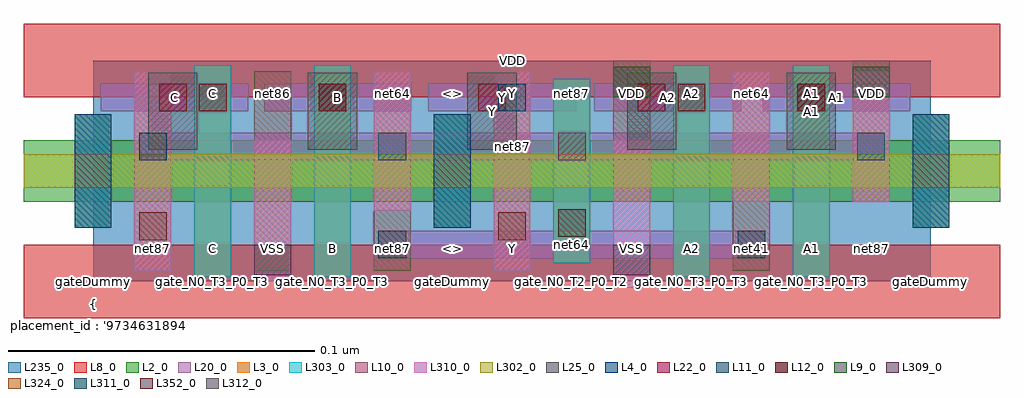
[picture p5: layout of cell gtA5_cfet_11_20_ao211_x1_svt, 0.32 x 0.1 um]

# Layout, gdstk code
import gdstk
lib = gdstk.Library(unit=1e-6, precision=2.5e-10)
def R(c, l, rs):  # rectangles x0, y0, x1, y1
    for r in rs: c.add(gdstk.rectangle(r[:2], r[2:], *l))
def A(c, l, x, y, w, h, nx, ny, dx, dy):  # array of equal rectangles
    R(c, l, [(x+i*dx, y+j*dy, x+i*dx+w, y+j*dy+h) for i in range(nx) for j in range(ny)])
L2_0 = (2, 0)
L3_0 = (3, 0)
L4_0 = (4, 0)
L8_0 = (8, 0)
L9_0 = (9, 0)
L10_0 = (10, 0)
L11_0 = (11, 0)
L12_0 = (12, 0)
L20_0 = (20, 0)
L22_0 = (22, 0)
L25_0 = (25, 0)
L235_0 = (235, 0)
L302_0 = (302, 0)
L303_0 = (303, 0)
L309_0 = (309, 0)
L310_0 = (310, 0)
L311_0 = (311, 0)
L312_0 = (312, 0)
L324_0 = (324, 0)
L352_0 = (352, 0)

gta5_cfet_11_20_ao211_x1 = lib.new_cell('gtA5_cfet_11_20_ao211_x1_svt')
R(gta5_cfet_11_20_ao211_x1, L2_0, [(-0.0225,0.026,0.2955,0.046)])
R(gta5_cfet_11_20_ao211_x1, L3_0, [(0.033,0.0015,0.045,0.0705), (0.072,0.0015,0.084,0.0705), (0.189,0.0015,0.201,0.0705), (0.228,0.0015,0.24,0.0705), (0.15,0.006,0.162,0.066), (-0.006,0.0175,0.006,0.0545), (0.111,0.0175,0.123,0.0545), (0.267,0.0175,0.279,0.0545)])
R(gta5_cfet_11_20_ao211_x1, L4_0, [(-0.006,0.0175,0.006,0.0545), (0.111,0.0175,0.123,0.0545), (0.267,0.0175,0.279,0.0545)])
R(gta5_cfet_11_20_ao211_x1, L8_0, [(-0.0225,-0.012,0.2955,0.012), (-0.0225,0.06,0.2955,0.084)])
R(gta5_cfet_11_20_ao211_x1, L9_0, [(0.1695,0.06,0.1815,0.07), (0.2475,0.06,0.2595,0.07)])
A(gta5_cfet_11_20_ao211_x1, L10_0, 0.0135, 0.0035, 0.012, 0.065, 4, 1, 0.039, 0)
R(gta5_cfet_11_20_ao211_x1, L10_0, [(0.2085,0.0035,0.2205,0.0685), (0.1695,0.026,0.1815,0.072), (0.2475,0.026,0.2595,0.072)])
R(gta5_cfet_11_20_ao211_x1, L11_0, [(0.093,0.0075,0.102,0.0165), (0.21,0.0075,0.219,0.0165), (0.015,0.0395,0.024,0.0485), (0.132,0.0555,0.141,0.0645)])
R(gta5_cfet_11_20_ao211_x1, L12_0, [(0.0345,0.0555,0.0435,0.0645), (0.0735,0.0555,0.0825,0.0645), (0.1905,0.0555,0.1995,0.0645), (0.2295,0.0555,0.2385,0.0645)])
R(gta5_cfet_11_20_ao211_x1, L20_0, [(0.093,0.0075,0.219,0.0165), (0.015,0.0395,0.258,0.0485), (0.0025,0.0555,0.0505,0.0645), (0.0558,0.0555,0.1038,0.0645), (0.1092,0.0555,0.1573,0.0645), (0.1633,0.0555,0.2112,0.0645), (0.2182,0.0555,0.2662,0.0645)])
A(gta5_cfet_11_20_ao211_x1, L22_0, 0.0215, 0.0555, 0.009, 0.009, 5, 1, 0.052, 0)
A(gta5_cfet_11_20_ao211_x1, L25_0, 0.018, 0.043, 0.016, 0.025, 5, 1, 0.052, 0)
R(gta5_cfet_11_20_ao211_x1, L235_0, [(0,0,0.273,0.072)])
R(gta5_cfet_11_20_ao211_x1, L302_0, [(-0.0225,0.0305,0.2955,0.0415)])
R(gta5_cfet_11_20_ao211_x1, L303_0, [(0.033,0.0015,0.045,0.0705), (0.072,0.0015,0.084,0.0705), (0.189,0.0015,0.201,0.0705), (0.228,0.0015,0.24,0.0705), (0.15,0.006,0.162,0.066), (-0.006,0.0175,0.006,0.0545), (0.111,0.0175,0.123,0.0545), (0.267,0.0175,0.279,0.0545)])
R(gta5_cfet_11_20_ao211_x1, L309_0, [(0.0525,0.002,0.0645,0.012), (0.1695,0.002,0.1815,0.012)])
R(gta5_cfet_11_20_ao211_x1, L310_0, [(0.1695,-0.002,0.1815,0.046), (0.0525,0,0.0645,0.046), (0.0135,0.0035,0.0255,0.0685), (0.1305,0.0035,0.1425,0.0685), (0.0915,0.023,0.1035,0.0685), (0.2085,0.026,0.2205,0.0685), (0.2475,0.026,0.2595,0.0685)])
R(gta5_cfet_11_20_ao211_x1, L311_0, [(0.093,0.0395,0.102,0.0485), (0.249,0.0395,0.258,0.0485)])
R(gta5_cfet_11_20_ao211_x1, L312_0, [(0.1515,0.0395,0.1605,0.0485)])
R(gta5_cfet_11_20_ao211_x1, L324_0, [(0.015,0.0135,0.024,0.0225), (0.132,0.0135,0.141,0.0225)])
R(gta5_cfet_11_20_ao211_x1, L352_0, [(0.1515,0.0145,0.1605,0.0235)])
gta5_cfet_11_20_ao211_x1.add(gdstk.Label('net64', (0.156,0.012), layer=100, texttype=100))
gta5_cfet_11_20_ao211_x1.add(gdstk.Label('net87', (0.1365,0.044), layer=100, texttype=100))
gta5_cfet_11_20_ao211_x1.add(gdstk.Label('C', (0.0265,0.06), layer=100, texttype=100))
gta5_cfet_11_20_ao211_x1.add(gdstk.Label('B', (0.0798,0.06), layer=100, texttype=100))
gta5_cfet_11_20_ao211_x1.add(gdstk.Label('Y', (0.1333,0.06), layer=100, texttype=100))
gta5_cfet_11_20_ao211_x1.add(gdstk.Label('A2', (0.1872,0.06), layer=100, texttype=100))
gta5_cfet_11_20_ao211_x1.add(gdstk.Label('A1', (0.2422,0.06), layer=100, texttype=100))
gta5_cfet_11_20_ao211_x1.add(gdstk.Label('gateDummy', (0,0), layer=103, texttype=103))
gta5_cfet_11_20_ao211_x1.add(gdstk.Label('sd_N0_T2_P0_T2', (0.0195,0), layer=103, texttype=103))
gta5_cfet_11_20_ao211_x1.add(gdstk.Label('gate_N0_T3_P0_T3', (0.039,0), layer=103, texttype=103))
gta5_cfet_11_20_ao211_x1.add(gdstk.Label('sd_N0_VSS', (0.0585,0), layer=103, texttype=103))
gta5_cfet_11_20_ao211_x1.add(gdstk.Label('gate_N0_T3_P0_T3', (0.078,0), layer=103, texttype=103))
gta5_cfet_11_20_ao211_x1.add(gdstk.Label('sd_N0_T2_P0_T0', (0.0975,0), layer=103, texttype=103))
gta5_cfet_11_20_ao211_x1.add(gdstk.Label('gateDummy', (0.117,0), layer=103, texttype=103))
gta5_cfet_11_20_ao211_x1.add(gdstk.Label('sd_N0_T3_P0_T3', (0.1365,0), layer=103, texttype=103))
gta5_cfet_11_20_ao211_x1.add(gdstk.Label('gate_N0_T2_P0_T2', (0.156,0), layer=103, texttype=103))
gta5_cfet_11_20_ao211_x1.add(gdstk.Label('sd_N0_VSS_P0_VDD', (0.1755,0), layer=103, texttype=103))
gta5_cfet_11_20_ao211_x1.add(gdstk.Label('gate_N0_T3_P0_T3', (0.195,0), layer=103, texttype=103))
gta5_cfet_11_20_ao211_x1.add(gdstk.Label('sd_N0_abut_P0_T0', (0.2145,0), layer=103, texttype=103))
gta5_cfet_11_20_ao211_x1.add(gdstk.Label('gate_N0_T3_P0_T3', (0.234,0), layer=103, texttype=103))
gta5_cfet_11_20_ao211_x1.add(gdstk.Label('sd_N0_T2_P0_VDD', (0.2535,0), layer=103, texttype=103))
gta5_cfet_11_20_ao211_x1.add(gdstk.Label('gateDummy', (0.273,0), layer=103, texttype=103))
gta5_cfet_11_20_ao211_x1.add(gdstk.Label('}', (0,-0.0785), layer=104, texttype=104))
gta5_cfet_11_20_ao211_x1.add(gdstk.Label('  power : None', (0,-0.0713), layer=104, texttype=104))
gta5_cfet_11_20_ao211_x1.add(gdstk.Label('  performance : None', (0,-0.0643), layer=104, texttype=104))
gta5_cfet_11_20_ao211_x1.add(gdstk.Label("  solution_hash : '10066029818625352262'", (0,-0.057), layer=104, texttype=104))
gta5_cfet_11_20_ao211_x1.add(gdstk.Label('  number_m2 : 0', (0,-0.05), layer=104, texttype=104))
gta5_cfet_11_20_ao211_x1.add(gdstk.Label('  number_m1 : 5', (0,-0.0428), layer=104, texttype=104))
gta5_cfet_11_20_ao211_x1.add(gdstk.Label('  number_m0cuts : 0', (0,-0.0358), layer=104, texttype=104))
gta5_cfet_11_20_ao211_x1.add(gdstk.Label('  number_m0 : 7', (0,-0.0285), layer=104, texttype=104))
gta5_cfet_11_20_ao211_x1.add(gdstk.Label("  solution_number : '0000'", (0,-0.0215), layer=104, texttype=104))
gta5_cfet_11_20_ao211_x1.add(gdstk.Label("  placement_id : '973463189460027504'", (0,-0.0143), layer=104, texttype=104))
gta5_cfet_11_20_ao211_x1.add(gdstk.Label('{', (0,-0.0073), layer=104, texttype=104))
gta5_cfet_11_20_ao211_x1.add(gdstk.Label('net87', (0.0195,0.0108), layer=105, texttype=105))
gta5_cfet_11_20_ao211_x1.add(gdstk.Label('C', (0.039,0.0108), layer=105, texttype=105))
gta5_cfet_11_20_ao211_x1.add(gdstk.Label('VSS', (0.0585,0.0108), layer=105, texttype=105))
gta5_cfet_11_20_ao211_x1.add(gdstk.Label('B', (0.078,0.0108), layer=105, texttype=105))
gta5_cfet_11_20_ao211_x1.add(gdstk.Label('net87', (0.0975,0.0108), layer=105, texttype=105))
gta5_cfet_11_20_ao211_x1.add(gdstk.Label('<>', (0.117,0.0108), layer=105, texttype=105))
gta5_cfet_11_20_ao211_x1.add(gdstk.Label('Y', (0.1365,0.0108), layer=105, texttype=105))
gta5_cfet_11_20_ao211_x1.add(gdstk.Label('net87', (0.156,0.0108), layer=105, texttype=105))
gta5_cfet_11_20_ao211_x1.add(gdstk.Label('VSS', (0.1755,0.0108), layer=105, texttype=105))
gta5_cfet_11_20_ao211_x1.add(gdstk.Label('A2', (0.195,0.0108), layer=105, texttype=105))
gta5_cfet_11_20_ao211_x1.add(gdstk.Label('net41', (0.2145,0.0108), layer=105, texttype=105))
gta5_cfet_11_20_ao211_x1.add(gdstk.Label('A1', (0.234,0.0108), layer=105, texttype=105))
gta5_cfet_11_20_ao211_x1.add(gdstk.Label('net87', (0.2535,0.0108), layer=105, texttype=105))
gta5_cfet_11_20_ao211_x1.add(gdstk.Label('net87', (0.0195,0.0612), layer=105, texttype=105))
gta5_cfet_11_20_ao211_x1.add(gdstk.Label('C', (0.039,0.0612), layer=105, texttype=105))
gta5_cfet_11_20_ao211_x1.add(gdstk.Label('net86', (0.0585,0.0612), layer=105, texttype=105))
gta5_cfet_11_20_ao211_x1.add(gdstk.Label('B', (0.078,0.0612), layer=105, texttype=105))
gta5_cfet_11_20_ao211_x1.add(gdstk.Label('net64', (0.0975,0.0612), layer=105, texttype=105))
gta5_cfet_11_20_ao211_x1.add(gdstk.Label('<>', (0.117,0.0612), layer=105, texttype=105))
gta5_cfet_11_20_ao211_x1.add(gdstk.Label('Y', (0.1365,0.0612), layer=105, texttype=105))
gta5_cfet_11_20_ao211_x1.add(gdstk.Label('net87', (0.156,0.0612), layer=105, texttype=105))
gta5_cfet_11_20_ao211_x1.add(gdstk.Label('VDD', (0.1755,0.0612), layer=105, texttype=105))
gta5_cfet_11_20_ao211_x1.add(gdstk.Label('A2', (0.195,0.0612), layer=105, texttype=105))
gta5_cfet_11_20_ao211_x1.add(gdstk.Label('net64', (0.2145,0.0612), layer=105, texttype=105))
gta5_cfet_11_20_ao211_x1.add(gdstk.Label('A1', (0.234,0.0612), layer=105, texttype=105))
gta5_cfet_11_20_ao211_x1.add(gdstk.Label('VDD', (0.2535,0.0612), layer=105, texttype=105))
gta5_cfet_11_20_ao211_x1.add(gdstk.Label('VSS', (0.1365,0), layer=8, texttype=0))
gta5_cfet_11_20_ao211_x1.add(gdstk.Label('VDD', (0.1365,0.072), layer=8, texttype=0))
gta5_cfet_11_20_ao211_x1.add(gdstk.Label('C', (0.026,0.0555), layer=25, texttype=0))
gta5_cfet_11_20_ao211_x1.add(gdstk.Label('B', (0.078,0.0555), layer=25, texttype=0))
gta5_cfet_11_20_ao211_x1.add(gdstk.Label('Y', (0.13,0.0555), layer=25, texttype=0))
gta5_cfet_11_20_ao211_x1.add(gdstk.Label('A2', (0.182,0.0555), layer=25, texttype=0))
gta5_cfet_11_20_ao211_x1.add(gdstk.Label('A1', (0.234,0.0555), layer=25, texttype=0))
gta5_cfet_11_20_ao211_x1.add(gdstk.Label('gtA5_cfet_11_20_ao211_x1_rvt_0', (0,0), layer=235, texttype=0))

lib.write_gds('gtA5_cfet_11_20_ao211_x1_svt.gds')
